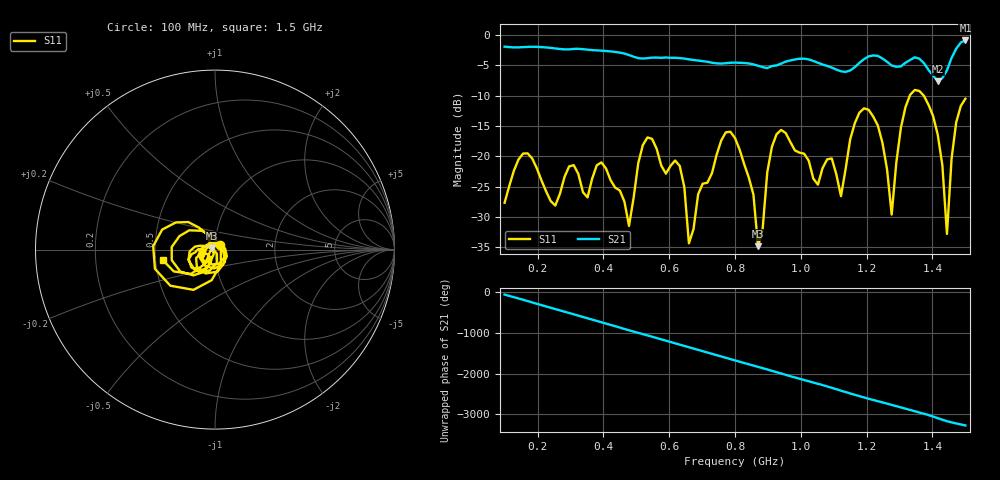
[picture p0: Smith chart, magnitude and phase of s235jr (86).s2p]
! NanoVNA-App
! Date: 2025-09-26 09:45:27
! Start: 100MHz Stop: 1,5GHz Points: 101
! S-Parameter data: F S11 S21 S12 S22
# Hz S RI R 50
!  Frequency  S11_Real  S11_Imag  S21_Real  S21_Imag  S12_Real  S12_Imag  S22_Real  S22_Imag
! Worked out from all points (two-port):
!   101 points, 100 MHz to 1.5 GHz, reference 50 ohm
!   highest |S21| = -0.93 dB at 1.5 GHz (marker M1); lowest = -7.7 dB at 1.416 GHz (marker M2)
!   |S21| within 3 dB of the highest: start of sweep to 647.4 MHz; 1.194 GHz to 1.249 GHz (54.49 MHz wide, 4.46 % of centre)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
!   lowest |S11| = -34.8 dB at 870 MHz (marker M3), VSWR 1.04, Z = 48.5 + j0.941 ohm
!   |S11| at or under -10 dB: start of sweep to 1.331 GHz; 1.373 GHz to end of sweep
!   S12 and S22 are empty: the file has one direction only
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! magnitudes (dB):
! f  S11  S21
! 100 MHz  -27.6  -2.0
! 156 MHz  -19.6  -2.0
! 338 MHz  -25.9  -2.4
! 394 MHz  -21.0  -2.6
! 478 MHz  -31.5  -3.3
! 520 MHz  -18.2  -3.9
! 576 MHz  -21.5  -3.8
! 632 MHz  -21.6  -3.8
! 660 MHz  -34.3  -4.0
! 800 MHz  -17.0  -4.6
! 870 MHz  -34.8  -5.1
! 926 MHz  -16.4  -5.0
! 1.038 GHz  -23.7  -4.3
! 1.094 GHz  -20.4  -5.4
! 1.122 GHz  -26.6  -6.0
! 1.206 GHz  -12.3  -3.6
! 1.276 GHz  -29.6  -5.1
! 1.332 GHz  -9.9  -4.1
! 1.416 GHz  -16.4  -7.7
! 1.444 GHz  -32.8  -5.8
! 1.472 GHz  -14.4  -2.3
! 1.5 GHz  -10.5  -0.9
